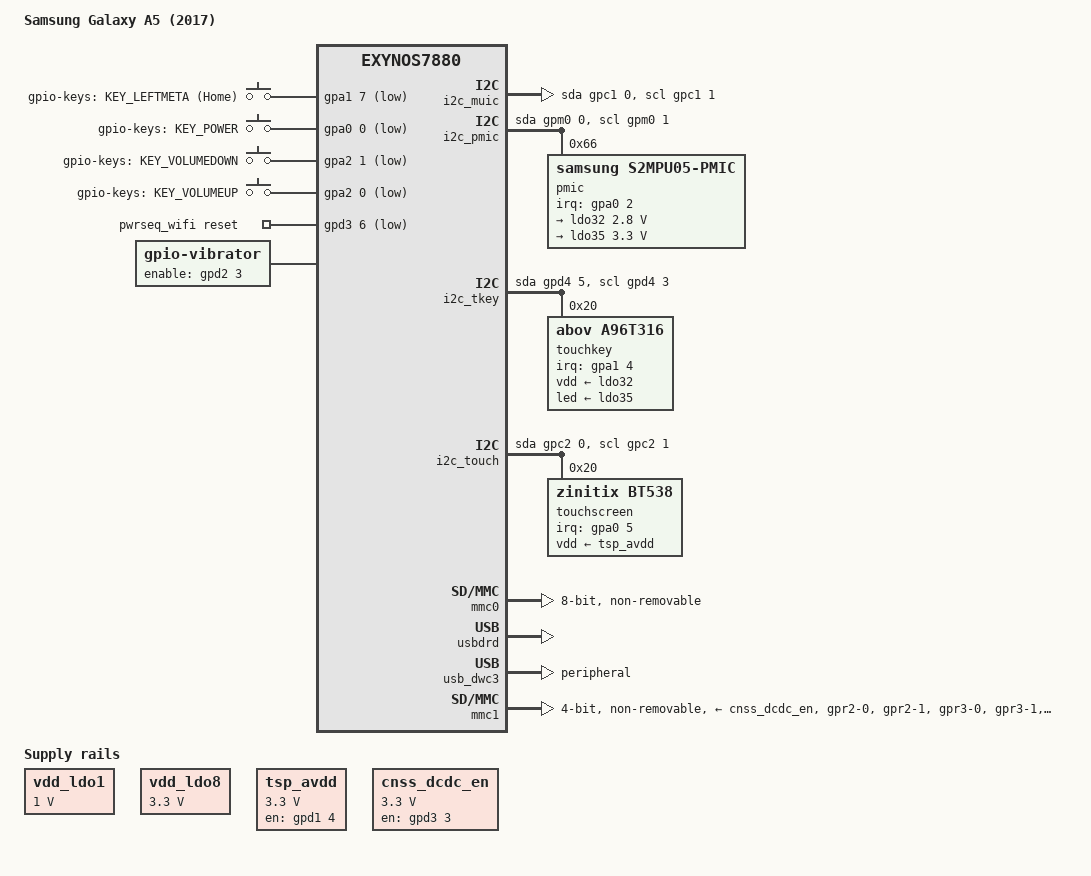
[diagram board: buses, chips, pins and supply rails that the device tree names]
// SPDX-License-Identifier: GPL-2.0
/*
 * Samsung Galaxy A5 (2017), SM-A520F - M4 (console, keys, eMMC, USB gadget)
 *
 *  [D] Samsung universal7880 kernel: exynos7880-a5y17lte_common.dtsi,
 *      exynos7880-rmem.dtsi
 *  [H] a5y17lte hardware readings, EVIDENCE.md section 12
 */

/dts-v1/;
#include "exynos7880.dtsi"
#include <dt-bindings/gpio/gpio.h>
#include <dt-bindings/input/input.h>
#include <dt-bindings/interrupt-controller/irq.h>

/ {
	model = "Samsung Galaxy A5 (2017)";
	compatible = "samsung,a5y17lte", "samsung,exynos7880";
	chassis-type = "handset";

	aliases {
		mmc0 = &mmc0;
	};

	chosen {
		#address-cells = <2>;
		#size-cells = <1>;
		ranges;

		bootargs = "console=tty0 loglevel=7 panic=20 clk_ignore_unused pd_ignore_unused regulator_ignore_unused fbcon=font:TER16x32";

		/* [H] 0x67000000, 1080x1920, ARGB8888 (R G B W bars confirmed) */
		framebuffer@67000000 {
			compatible = "simple-framebuffer";
			reg = <0x0 0x67000000 (1080 * 1920 * 4)>;
			width = <1080>;
			height = <1920>;
			stride = <(1080 * 4)>;
			format = "a8r8g8b8";
		};
	};

	/*
	 * [D] exynos7880-a5y17lte_common.dtsi gpio_keys: power gpa0-0 (116),
	 * volume down gpa2-1 (114), volume up gpa2-0 (115), home gpa1-7 (172);
	 * identical to mainline exynos7870-j5y17lte.dts.
	 */
	gpio-keys {
		compatible = "gpio-keys";
		pinctrl-names = "default";
		pinctrl-0 = <&key_power &key_voldown &key_volup &key_home>;

		key-home {
			/* Phosh binds Super (toggles the overview) and nothing on XF86HomePage
			 * (EVIDENCE 38) */
			linux,code = <KEY_LEFTMETA>;
			label = "gpio-keys: KEY_LEFTMETA (Home)";
			gpios = <&gpa1 7 GPIO_ACTIVE_LOW>;
			wakeup-source;
		};

		key-power {
			linux,code = <KEY_POWER>;
			label = "gpio-keys: KEY_POWER";
			gpios = <&gpa0 0 GPIO_ACTIVE_LOW>;
			wakeup-source;
		};

		key-voldown {
			linux,code = <KEY_VOLUMEDOWN>;
			label = "gpio-keys: KEY_VOLUMEDOWN";
			gpios = <&gpa2 1 GPIO_ACTIVE_LOW>;
		};

		key-volup {
			linux,code = <KEY_VOLUMEUP>;
			label = "gpio-keys: KEY_VOLUMEUP";
			gpios = <&gpa2 0 GPIO_ACTIVE_LOW>;
		};
	};

	/*
	 * [D] exynos7880-a5y17lte_common.dtsi s2mpu05 PMIC: the USB PHY
	 * supplies LDO8 (3.3 V, vdd33), LDO1 (vdd10) and LDO3 (dwc3-vbus) are
	 * all regulator-boot-on + regulator-always-on, so S-Boot turns them on
	 * and nothing turns them off. Until the PMIC has a driver here they are
	 * described as always-on fixed regulators.
	 */
	vdd_ldo1: regulator-ldo1 {
		compatible = "regulator-fixed";
		regulator-name = "vdd_ldo1";
		regulator-min-microvolt = <1000000>;
		regulator-max-microvolt = <1000000>;
		regulator-always-on;
		regulator-boot-on;
	};

	vdd_ldo8: regulator-ldo8 {
		compatible = "regulator-fixed";
		regulator-name = "vdd_ldo8";
		regulator-min-microvolt = <3300000>;
		regulator-max-microvolt = <3300000>;
		regulator-always-on;
		regulator-boot-on;
	};

	/*
	 * [D] exynos7880-a5y17lte_common.dtsi: S2MU004 (charger + MUIC that
	 * routes the USB D+/D- lines) at 0x3d on i2c@13870000, pins gpc1-0
	 * (SDA) / gpc1-1 (SCL) [D] i2c0_bus. Driven as a GPIO bit-banged bus
	 * until the 7880 CMU_PERI (I2C clock) is supported; userspace reads and
	 * sets the MUIC switch through /dev/i2c-N.
	 */
	i2c_muic: i2c-gpio-muic {
		compatible = "i2c-gpio";
		sda-gpios = <&gpc1 0 (GPIO_ACTIVE_HIGH | GPIO_OPEN_DRAIN)>;
		scl-gpios = <&gpc1 1 (GPIO_ACTIVE_HIGH | GPIO_OPEN_DRAIN)>;
		i2c-gpio,delay-us = <5>;
		#address-cells = <1>;
		#size-cells = <0>;
	};

	/*
	 * Touchscreen bring-up (EVIDENCE 31), bit-banged until the CMU_PERI I2C
	 * clocks are supported. [D] PMIC: S2MPU05 at 7-bit 0x66 on
	 * hsi2c@10610000, gpm0-0 (SDA) / gpm0-1 (SCL), supplies the touch IC
	 * through LDO34. [D] Touch: i2c@13890000, gpc2-0 (SDA) / gpc2-1 (SCL), IC at
	 * 0x20 (Zinitix) or 0x48 (sec_ts) depending on the board revision.
	 */
	i2c_pmic: i2c-gpio-pmic {
		compatible = "i2c-gpio";
		sda-gpios = <&gpm0 0 (GPIO_ACTIVE_HIGH | GPIO_OPEN_DRAIN)>;
		scl-gpios = <&gpm0 1 (GPIO_ACTIVE_HIGH | GPIO_OPEN_DRAIN)>;
		i2c-gpio,delay-us = <5>;
		#address-cells = <1>;
		#size-cells = <0>;
	};

	/*
	 * Touch-key MCU bring-up (EVIDENCE 38): [D] common dtsi i2c@20 (i2c-gpio): SDA gpd4-5, SCL
	 * gpd4-3, "abov,mc96ft18xx" at 0x20, IRQ gpa1-4. Driver-less: userspace probes it with
	 * i2c-tools; its supply (probably a PMIC LDO) is switched on from userspace for now.
	 */
	i2c_tkey: i2c-gpio-tkey {
		compatible = "i2c-gpio";
		sda-gpios = <&gpd4 5 (GPIO_ACTIVE_HIGH | GPIO_OPEN_DRAIN)>;
		scl-gpios = <&gpd4 3 (GPIO_ACTIVE_HIGH | GPIO_OPEN_DRAIN)>;
		i2c-gpio,delay-us = <5>;
		#address-cells = <1>;
		#size-cells = <0>;
	};

	i2c_touch: i2c-gpio-touch {
		compatible = "i2c-gpio";
		sda-gpios = <&gpc2 0 (GPIO_ACTIVE_HIGH | GPIO_OPEN_DRAIN)>;
		scl-gpios = <&gpc2 1 (GPIO_ACTIVE_HIGH | GPIO_OPEN_DRAIN)>;
		i2c-gpio,delay-us = <5>;
		#address-cells = <1>;
		#size-cells = <0>;
	
		/*
		 * [H] A device ACKs at 0x20 once gpd1-4 is high (EVIDENCE 31). [D] common
		 * dtsi: zinitix ZT7538, IRQ gpa0-5, 1080x1920, supply tsp_avdd.
		 */
		touchscreen@20 {
			compatible = "zinitix,bt538";
			reg = <0x20>;
			interrupt-parent = <&gpa0>;
			interrupts = <5 IRQ_TYPE_LEVEL_LOW>;
			pinctrl-names = "default";
			pinctrl-0 = <&touch_irq>;
			vdd-supply = <&tsp_avdd>;
			touchscreen-size-x = <1080>;
			touchscreen-size-y = <1920>;
		};
	};

	/* [D] exynos7880-a5y17lte_eur_open_05.dts tsp_avdd: gpd1-4, 3.3 V */
	tsp_avdd: regulator-tsp-avdd {
		compatible = "regulator-fixed";
		regulator-name = "tsp_avdd";
		regulator-min-microvolt = <3300000>;
		regulator-max-microvolt = <3300000>;
		gpio = <&gpd1 4 GPIO_ACTIVE_HIGH>;
		enable-active-high;
	};

	/* [D] memory@40000000 0x3E400000 and memory@80000000 0x80000000 (3 GB) */
	memory@40000000 {
		device_type = "memory";
		reg = <0x0 0x40000000 0x3e400000>,
		      <0x0 0x80000000 0x80000000>;
	};

	/*
	 * Milestone 1 is conservative: every Samsung carve-out is no-map, so
	 * Linux never touches memory that firmware, modem or the secure world
	 * may own. [D] rmem: 0x7E400000-0x80000000 is secure DRAM and is
	 * already outside the memory node above.
	 */
	reserved-memory {
		#address-cells = <2>;
		#size-cells = <1>;
		ranges;

		/*
		 * [H] A write here makes the next plain reset hang at the Samsung logo
		 * (EVIDENCE 29: bad at 0x48000000 and 0x48010000/0x48014000, fine at
		 * 0x47fff000 and 0x48018000; 128 KiB covers it). Not used for Linux.
		 */
		sboot-reset@48000000 {
			reg = <0x0 0x48000000 0x20000>;
			no-map;
		};

		/* [D] extra_info */
		extra-info@45fff000 {
			reg = <0x0 0x45fff000 0x1000>;
			no-map;
		};

		/* [D] tima_region (Samsung TIMA) */
		tima@52800000 {
			reg = <0x0 0x52800000 0x200000>;
			no-map;
		};

		/* [H] boot framebuffer, then [D] dram_init 0x67FFF000, modem_if
		 * 0x68000000, gnss_if 0x70000000, /memreserve/ 0x70400000,
		 * gpu_crc, gpu_buffer, crypto, video_nfw/fw/stream/frame up to
		 * 0x7C800000; whole range kept out until it is understood */
		framebuffer@67000000 {
			reg = <0x0 0x67000000 0x17400000>;
			no-map;
		};

		/*
		 * [D] rmem.dtsi: "0x7E400000 ~ 0x80000000 is used for secure DRAM".
		 * Outside the memory node above, but U-Boot (board/samsung/common
		 * dram_init_banksize) reports 0x40000000-0x100000000 as contiguous
		 * banks and rewrites /memory on boot, so keep it out explicitly.
		 */
		secure-dram@7e400000 {
			reg = <0x0 0x7e400000 0x1c00000>;
			no-map;
		};

		/* [D] video_scaler (secure ION) */
		video-scaler@80000000 {
			reg = <0x0 0x80000000 0x3c00000>;
			no-map;
		};
	};
};

/*
 * eMMC. [D] exynos7880-a5y17lte_common.dtsi dwmmc0: 8-bit, non-removable,
 * fifo-depth 0x40, ciu-div 3, sdr-timing <3 0 2 0>, ddr-timing <3 0 4 2>.
 * Samsung cells are <div fine-drive drive sample>; mainline takes
 * <sample drive>, so SDR <0 2>, DDR <2 4> (the same conversion of Samsung's
 * 7870 values gives mainline exynos7870-j5y17lte's <0 4>/<2 4>).
 * Milestone 3 is conservative: high-speed SDR at 52 MHz max, no DDR/HS200/
 * HS400 (those need tuning and the 1.8 V I/O regulator), no pinctrl or
 * regulators (S-Boot leaves pins and supplies configured and on).
 */
&mmc0 {
	bus-width = <8>;
	non-removable;
	cap-mmc-highspeed;
	max-frequency = <52000000>;
	fifo-depth = <64>;
	samsung,dw-mshc-ciu-div = <3>;
	samsung,dw-mshc-sdr-timing = <0 2>;
	samsung,dw-mshc-ddr-timing = <2 4>;
	status = "okay";
};

/*
 * [D] usb@13600000: vdd33 LDO8, vdd10 LDO1, high-speed. Samsung uses
 * dr_mode "otg" with its own MUIC/CCIC notifier; with no cable detection
 * here, run as a USB peripheral only (gadget networking + serial).
 */
&usbdrd {
	vdd33-supply = <&vdd_ldo8>;
	vdd10-supply = <&vdd_ldo1>;
	status = "okay";
};

&usb_dwc3 {
	dr_mode = "peripheral";
	maximum-speed = "high-speed";
};

/* [D] key-power/voldown/volup/home: function 0xf (EINT), pud 0, drv 0 */
&pinctrl_alive {
	/* [D] attn_irq: gpa0-5, function 0xf (EINT), pud 0 */
	touch_irq: touch-irq-pins {
		samsung,pins = "gpa0-5";
		samsung,pin-function = <EXYNOS_PIN_FUNC_EINT>;
		samsung,pin-pud = <EXYNOS_PIN_PULL_NONE>;
		samsung,pin-drv = <EXYNOS5433_PIN_DRV_FAST_SR1>;
	};

	key_power: key-power-pins {
		samsung,pins = "gpa0-0";
		samsung,pin-function = <EXYNOS_PIN_FUNC_EINT>;
		samsung,pin-pud = <EXYNOS_PIN_PULL_NONE>;
		samsung,pin-drv = <EXYNOS5433_PIN_DRV_FAST_SR1>;
	};

	key_voldown: key-voldown-pins {
		samsung,pins = "gpa2-1";
		samsung,pin-function = <EXYNOS_PIN_FUNC_EINT>;
		samsung,pin-pud = <EXYNOS_PIN_PULL_NONE>;
		samsung,pin-drv = <EXYNOS5433_PIN_DRV_FAST_SR1>;
	};

	key_volup: key-volup-pins {
		samsung,pins = "gpa2-0";
		samsung,pin-function = <EXYNOS_PIN_FUNC_EINT>;
		samsung,pin-pud = <EXYNOS_PIN_PULL_NONE>;
		samsung,pin-drv = <EXYNOS5433_PIN_DRV_FAST_SR1>;
	};

	key_home: key-home-pins {
		samsung,pins = "gpa1-7";
		samsung,pin-function = <EXYNOS_PIN_FUNC_EINT>;
		samsung,pin-pud = <EXYNOS_PIN_PULL_NONE>;
		samsung,pin-drv = <EXYNOS5433_PIN_DRV_FAST_SR1>;
	};
};

/*
 * Wi-Fi bring-up (EVIDENCE 35): Qualcomm QCA9377 on SDIO (mmc1). [D] eur_open_05:
 * `wlan` WLAN_EN gpd3-6, host wake gpa2-2, supply cnss_dcdc_en = regulator-fixed on
 * gpd3-3 (4 ms startup); pins and timings as in the Exynos7870 boards that use
 * the same sd1 pins (j7xelte). The card is powered through vmmc, then WLAN_EN is
 * released by the MMC power sequence.
 */
&pinctrl_fsys {
	sd1_clk: sd1-clk-pins {
		samsung,pins = "gpr2-0";
		samsung,pin-function = <EXYNOS_PIN_FUNC_2>;
		samsung,pin-pud = <EXYNOS_PIN_PULL_NONE>;
		samsung,pin-drv = <EXYNOS5433_PIN_DRV_FAST_SR3>;
	};

	sd1_cmd: sd1-cmd-pins {
		samsung,pins = "gpr2-1";
		samsung,pin-function = <EXYNOS_PIN_FUNC_2>;
		samsung,pin-pud = <EXYNOS_PIN_PULL_UP>;
		samsung,pin-drv = <EXYNOS5433_PIN_DRV_FAST_SR3>;
	};

	sd1_bus1: sd1-bus-width1-pins {
		samsung,pins = "gpr3-0";
		samsung,pin-function = <EXYNOS_PIN_FUNC_2>;
		samsung,pin-con-pdn = <EXYNOS_PIN_PDN_INPUT>;
		samsung,pin-pud-pdn = <EXYNOS_PIN_PULL_UP>;
		samsung,pin-pud = <EXYNOS_PIN_PULL_UP>;
		samsung,pin-drv = <EXYNOS5433_PIN_DRV_FAST_SR3>;
	};

	sd1_bus4: sd1-bus-width4-pins {
		samsung,pins = "gpr3-1", "gpr3-2", "gpr3-3";
		samsung,pin-function = <EXYNOS_PIN_FUNC_2>;
		samsung,pin-con-pdn = <EXYNOS_PIN_PDN_INPUT>;
		samsung,pin-pud-pdn = <EXYNOS_PIN_PULL_UP>;
		samsung,pin-pud = <EXYNOS_PIN_PULL_UP>;
		samsung,pin-drv = <EXYNOS5433_PIN_DRV_FAST_SR3>;
	};
};

&pinctrl_top {
	/* [D] cnss_wlanen: WLAN_EN gpd3-6 as a GPIO output, low */
	wlan_en: wlan-en-pins {
		samsung,pins = "gpd3-6";
		samsung,pin-function = <EXYNOS_PIN_FUNC_OUTPUT>;
		samsung,pin-pud = <EXYNOS_PIN_PULL_NONE>;
		samsung,pin-drv = <EXYNOS5433_PIN_DRV_FAST_SR3>;
	};
};

/ {
	cnss_dcdc_en: regulator-cnss-dcdc-en {
		compatible = "regulator-fixed";
		regulator-name = "cnss_dcdc_en";
		/* the MMC core needs a voltage range to derive the OCR mask (m8a: -EINVAL) */
		regulator-min-microvolt = <3300000>;
		regulator-max-microvolt = <3300000>;
		startup-delay-us = <4000>;
		enable-active-high;
		gpio = <&gpd3 3 GPIO_ACTIVE_HIGH>;
	};

	pwrseq_wifi: pwrseq-wifi {
		compatible = "mmc-pwrseq-simple";
		pinctrl-names = "default";
		pinctrl-0 = <&wlan_en>;
		reset-gpios = <&gpd3 6 GPIO_ACTIVE_LOW>;
		post-power-on-delay-ms = <100>;
	};
};

&mmc1 {
	pinctrl-names = "default";
	pinctrl-0 = <&sd1_clk &sd1_cmd &sd1_bus1 &sd1_bus4>;
	vmmc-supply = <&cnss_dcdc_en>;
	mmc-pwrseq = <&pwrseq_wifi>;

	bus-width = <4>;
	fifo-depth = <64>;
	samsung,dw-mshc-ciu-div = <3>;
	samsung,dw-mshc-sdr-timing = <0 3>;
	samsung,dw-mshc-ddr-timing = <1 2>;
	max-frequency = <25000000>;
	non-removable;
	cap-sd-highspeed;
	cap-sdio-irq;
	status = "okay";
};

/*
 * S2MPU05 PMIC (EVIDENCE 38): [D] hsi2c@10610000, 7-bit 0x66, interrupt gpa0-2; bit-banged on
 * gpm0-0/1 for now. Only the LDOs the touch-key controller needs are described; the other rails
 * keep the state S-Boot left them in (`regulator_ignore_unused` is on the command line).
 */
&i2c_pmic {
	pmic@66 {
		compatible = "samsung,s2mpu05-pmic";
		reg = <0x66>;
		interrupt-parent = <&gpa0>;
		interrupts = <2 IRQ_TYPE_LEVEL_LOW>;

		regulators {
			ldo32: ldo32 {
				regulator-name = "vtouch_2.8v";
				regulator-min-microvolt = <2800000>;
				regulator-max-microvolt = <2800000>;
			};

			/* [D] vtouch_3.3v (LDO35): the supply of the key backlight (EVIDENCE 38) */
			ldo35: ldo35 {
				regulator-name = "vtouch_3.3v";
				regulator-min-microvolt = <3300000>;
				regulator-max-microvolt = <3300000>;
			};
		};
	};
};

/* [D] abov@20 on the touch-key i2c-gpio bus; [D] cfg_irq: gpa1-4 EINT, no pull */
&pinctrl_alive {
	tkey_irq: tkey-irq-pins {
		samsung,pins = "gpa1-4";
		samsung,pin-function = <EXYNOS_PIN_FUNC_EINT>;
		samsung,pin-pud = <EXYNOS_PIN_PULL_NONE>;
		samsung,pin-drv = <EXYNOS5433_PIN_DRV_FAST_SR1>;
	};
};

&i2c_tkey {
	touchkey@20 {
		compatible = "abov,a96t316";
		reg = <0x20>;
		interrupt-parent = <&gpa1>;
		interrupts = <4 IRQ_TYPE_LEVEL_LOW>;
		pinctrl-names = "default";
		pinctrl-0 = <&tkey_irq>;
		vdd-supply = <&ldo32>;
		led-supply = <&ldo35>;
		/* Esc is the "back" action on Wayland/GTK; recents stays APPSELECT */
		linux,keycodes = <KEY_APPSELECT>, <KEY_ESC>;
	};
};

/*
 * Display (EVIDENCE 40): S6E3FA3 panel, 1080x1920, 65x115 mm, command mode; [D] common dtsi s6e3fa3:
 * h-porch <2 2 2> (back, front, sync), v-porch <15 3 1>, 60 Hz. Pixel clock for 60 Hz with these
 * totals (1086 x 1939): 126342840 Hz. Only the active size has to match what S-Boot programmed.
 */
&decon {
	width-mm = <65>;
	height-mm = <115>;
	/* untested: enabled by `DECON=1 ./build-mainline.sh` (the display driver replaces simpledrm) */
	status = "disabled";

	display-timings {
		native-mode = <&panel_timing>;

		panel_timing: timing-0 {
			clock-frequency = <126342840>;
			hactive = <1080>;
			vactive = <1920>;
			hback-porch = <2>;
			hfront-porch = <2>;
			hsync-len = <2>;
			vback-porch = <15>;
			vfront-porch = <3>;
			vsync-len = <1>;
		};
	};
};

/*
 * Vibrator (EVIDENCE 42): [D] eur_open_05.dts sec_vib { ldo_type 1 (a GPIO LDO), ldo_en = <&gpd2 3> }: the
 * motor is a plain on/off switch on gpd2-3 (on the older revision 00 the same pin is the touch supply).
 */
/ {
	vibrator {
		compatible = "gpio-vibrator";
		enable-gpios = <&gpd2 3 GPIO_ACTIVE_HIGH>;
	};
};
